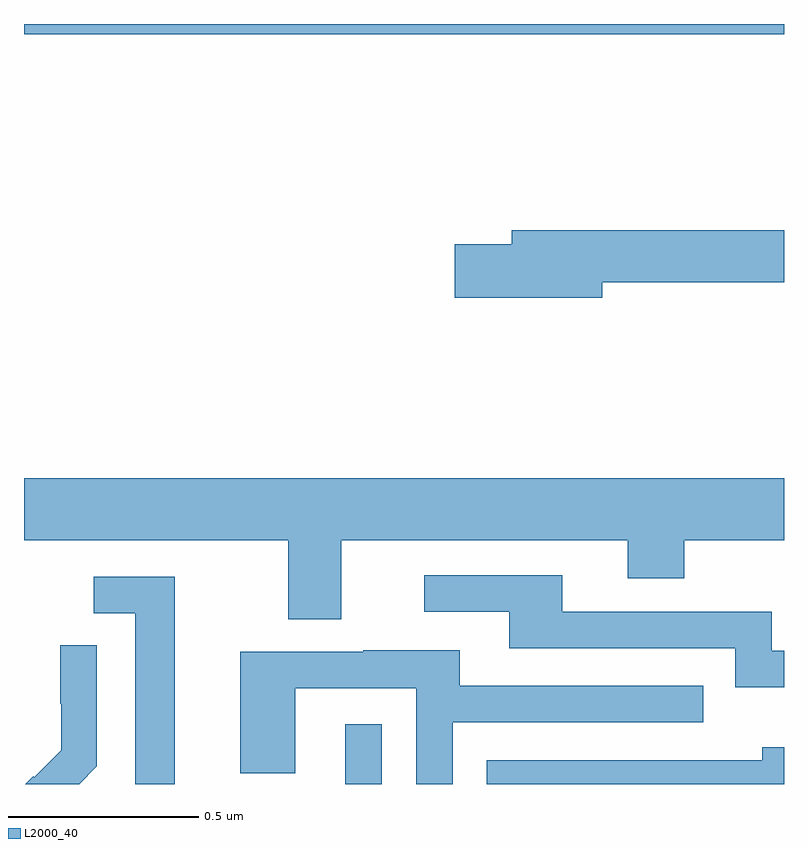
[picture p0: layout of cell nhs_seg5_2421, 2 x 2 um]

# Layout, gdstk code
import gdstk
lib = gdstk.Library(unit=1e-6, precision=1e-09)
def R(c, l, rs):  # rectangles x0, y0, x1, y1
    for r in rs: c.add(gdstk.rectangle(r[:2], r[2:], *l))
def P(c, l, *ps):  # polygons
    for p in ps: c.add(gdstk.Polygon(p, *l))
L2000_40 = (2000, 40)

nhs_seg5_2421 = lib.new_cell('nhs_seg5_2421')
R(nhs_seg5_2421, L2000_40, [(144.845,842.799,144.942,842.956), (144,844.772,146,844.799)])
P(nhs_seg5_2421, L2000_40, [(145.522,844.12),(146,844.12),(146,844.256),(145.283,844.256),(145.283,844.22),(145.134,844.22),(145.134,844.078),(145.522,844.078)],
  [(144,843.44),(144.695,843.44),(144.695,843.232),(144.835,843.232),(144.835,843.44),(145.589,843.44),(145.589,843.341),(145.737,843.341),(145.737,843.44),(146,843.44),(146,843.604),(144,843.604)],
  [(146,843.15),(145.968,843.15),(145.968,843.252),(145.417,843.252),(145.417,843.348),(145.053,843.348),(145.053,843.252),(145.277,843.252),(145.277,843.156),(145.872,843.156),(145.872,843.053),(146,843.053)],
  [(144.397,843.345),(144.183,843.345),(144.183,843.249),(144.293,843.249),(144.293,842.799),(144.397,842.799)],
  [(144.192,842.846),(144.192,843.164),(144.096,843.164),(144.096,843.01),(144.098,843.01),(144.098,842.888),(144.027,842.817),(144.024,842.82),(144.003,842.799),(144.145,842.799)],
  [(145.128,842.961),(145.787,842.961),(145.787,843.057),(145.147,843.057),(145.147,843.151),(144.893,843.151),(144.893,843.147),(144.569,843.147),(144.569,842.827),(144.714,842.827),(144.714,843.051),(145.032,843.051),(145.032,842.799),(145.128,842.799)],
  [(146,842.896),(145.943,842.896),(145.943,842.862),(145.218,842.862),(145.218,842.799),(146,842.799)])

lib.write_gds('nhs_seg5_2421.gds')
